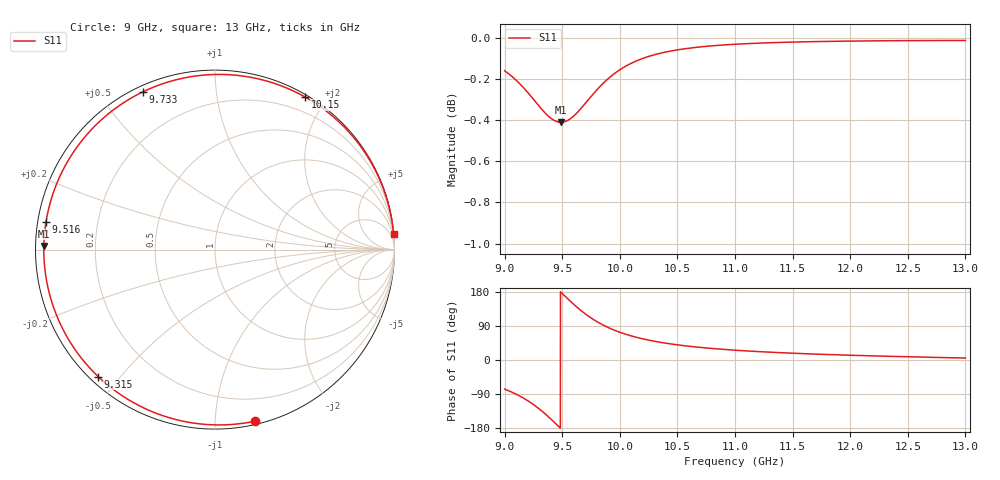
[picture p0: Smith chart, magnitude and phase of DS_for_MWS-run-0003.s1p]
! TOUCHSTONE file generated by CST DESIGN STUDIO
! Date and time: Tue Feb  4 13:56:48 2025
! Project name: C:\Work\MatlabApps\UnitCellOptimizationMatlab\CST\unitcell.cst
! Tree item: Tasks\Sweep1\SPara1\S-Parameters
! Header version: 2024
! Port assignment regex: !\s*Touchstone port\s*([0-9]+)\s*=\s*(CST MWS port|CST DES external port|CST DES block port)\s*(.+)\s* \(\"(.*)\"\)(\s*mode\s*([0-9]+))?.*
! Touchstone port assignment:
! Touchstone port 1 = CST DES external port 1 ("")
# GHz S MA R 50
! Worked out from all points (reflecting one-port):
!   4001 points, 9 GHz to 13 GHz, reference 50 ohm
!   lowest |S11| = -0.4 dB at 9.489 GHz (marker M1), VSWR 42.37, Z = 1.18 + j0.519 ohm
!   phase of S11 starts at -77 deg and turns -278 deg over the sweep
!   S11 on the Smith chart (normalised r, x): 9 GHz: 0.02, -1.26; 9.315 GHz: 0.02, -0.44; 9.516 GHz: 0.02, +0.08; 9.733 GHz: 0.02, +0.64; 10.15 GHz: 0.03, +1.75; 13 GHz: 0, +22
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9  0.9818 -76.9
9.081  0.9777 -87.4
9.18  0.9714 -103.5
9.25  0.9663 -117.5
9.315  0.9614 -132.6
9.361  0.9583 -144.5
9.41  0.9556 -158.1
9.45  0.9543 -169.7
9.489  0.9539 178.8
9.5  0.9539 175.6
9.516  0.9541 170.8
9.569  0.9557 155.5
9.629  0.959 139.2
9.68  0.9625 126.5
9.733  0.9665 114.6
9.787  0.9704 103.8
9.847  0.9744 93.5
9.922  0.9787 82.6
10  0.9823 73.2
10.15  0.9873 59.4
10.309  0.9908 49.0
10.5  0.9933 40.0
10.722  0.9951 32.5
11  0.9964 25.9
11.5  0.9977 17.9
12  0.9982 12.6
12.5  0.9985 8.5
13  0.9986 5.1
